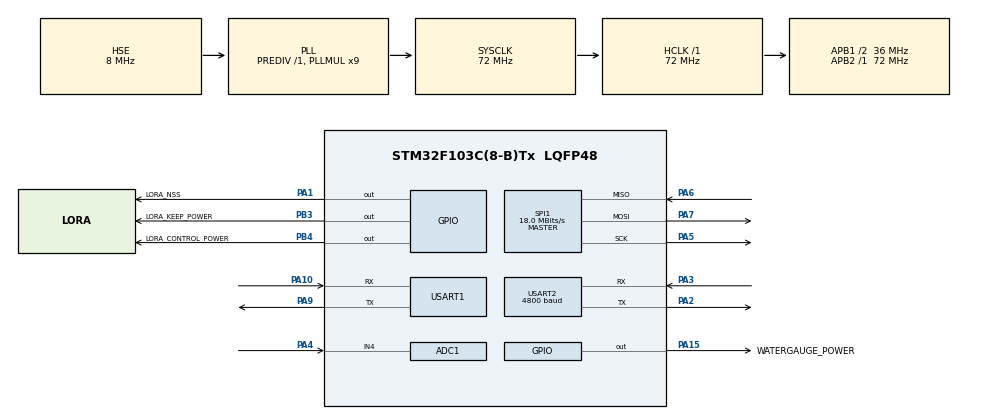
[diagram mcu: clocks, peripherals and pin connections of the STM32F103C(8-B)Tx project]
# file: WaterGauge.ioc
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ADC1.Channel-0\#ChannelRegularConversion=ADC_CHANNEL_4
ADC1.NbrOfConversionFlag=1
ADC1.Rank-0\#ChannelRegularConversion=1
ADC1.SamplingTime-0\#ChannelRegularConversion=ADC_SAMPLETIME_239CYCLES_5
ADC1.master=1
Dma.Request0=USART1_RX
Dma.Request1=USART1_TX
Dma.Request2=USART2_RX
Dma.Request3=USART2_TX
Dma.Request4=SPI1_RX
Dma.Request5=SPI1_TX
Dma.SPI1_RX.4.Direction=DMA_PERIPH_TO_MEMORY
Dma.SPI1_RX.4.Instance=DMA1_Channel2
Dma.SPI1_RX.4.MemDataAlignment=DMA_MDATAALIGN_BYTE
Dma.SPI1_RX.4.MemInc=DMA_MINC_ENABLE
Dma.SPI1_RX.4.Mode=DMA_NORMAL
Dma.SPI1_RX.4.PeriphDataAlignment=DMA_PDATAALIGN_BYTE
Dma.SPI1_RX.4.PeriphInc=DMA_PINC_DISABLE
Dma.SPI1_RX.4.Priority=DMA_PRIORITY_LOW
Dma.SPI1_TX.5.Direction=DMA_MEMORY_TO_PERIPH
Dma.SPI1_TX.5.Instance=DMA1_Channel3
Dma.SPI1_TX.5.MemDataAlignment=DMA_MDATAALIGN_BYTE
Dma.SPI1_TX.5.MemInc=DMA_MINC_ENABLE
Dma.SPI1_TX.5.Mode=DMA_NORMAL
Dma.SPI1_TX.5.PeriphDataAlignment=DMA_PDATAALIGN_BYTE
Dma.SPI1_TX.5.PeriphInc=DMA_PINC_DISABLE
Dma.SPI1_TX.5.Priority=DMA_PRIORITY_LOW
Dma.USART1_RX.0.Direction=DMA_PERIPH_TO_MEMORY
Dma.USART1_RX.0.Instance=DMA1_Channel5
Dma.USART1_RX.0.MemDataAlignment=DMA_MDATAALIGN_BYTE
Dma.USART1_RX.0.MemInc=DMA_MINC_ENABLE
Dma.USART1_RX.0.Mode=DMA_CIRCULAR
Dma.USART1_RX.0.PeriphDataAlignment=DMA_PDATAALIGN_BYTE
Dma.USART1_RX.0.PeriphInc=DMA_PINC_DISABLE
Dma.USART1_RX.0.Priority=DMA_PRIORITY_LOW
Dma.USART1_TX.1.Direction=DMA_MEMORY_TO_PERIPH
Dma.USART1_TX.1.Instance=DMA1_Channel4
Dma.USART1_TX.1.MemDataAlignment=DMA_MDATAALIGN_BYTE
Dma.USART1_TX.1.MemInc=DMA_MINC_ENABLE
Dma.USART1_TX.1.Mode=DMA_NORMAL
Dma.USART1_TX.1.PeriphDataAlignment=DMA_PDATAALIGN_BYTE
Dma.USART1_TX.1.PeriphInc=DMA_PINC_DISABLE
Dma.USART1_TX.1.Priority=DMA_PRIORITY_LOW
Dma.USART2_RX.2.Direction=DMA_PERIPH_TO_MEMORY
Dma.USART2_RX.2.Instance=DMA1_Channel6
Dma.USART2_RX.2.MemDataAlignment=DMA_MDATAALIGN_BYTE
Dma.USART2_RX.2.MemInc=DMA_MINC_ENABLE
Dma.USART2_RX.2.Mode=DMA_CIRCULAR
Dma.USART2_RX.2.PeriphDataAlignment=DMA_PDATAALIGN_BYTE
Dma.USART2_RX.2.PeriphInc=DMA_PINC_DISABLE
Dma.USART2_RX.2.Priority=DMA_PRIORITY_LOW
Dma.USART2_TX.3.Direction=DMA_MEMORY_TO_PERIPH
Dma.USART2_TX.3.Instance=DMA1_Channel7
Dma.USART2_TX.3.MemDataAlignment=DMA_MDATAALIGN_BYTE
Dma.USART2_TX.3.MemInc=DMA_MINC_ENABLE
Dma.USART2_TX.3.Mode=DMA_NORMAL
Dma.USART2_TX.3.PeriphDataAlignment=DMA_PDATAALIGN_BYTE
Dma.USART2_TX.3.PeriphInc=DMA_PINC_DISABLE
Dma.USART2_TX.3.Priority=DMA_PRIORITY_LOW
Mcu.Family=STM32F1
Mcu.Name=STM32F103C(8-B)Tx
Mcu.Package=LQFP48
NVIC.ADC1_2_IRQn=true\:0\:0\:false\:false\:true\:true\:true\:true
NVIC.DMA1_Channel2_IRQn=true\:0\:0\:false\:false\:true\:false\:true\:true
NVIC.DMA1_Channel3_IRQn=true\:0\:0\:false\:false\:true\:false\:true\:true
NVIC.DMA1_Channel4_IRQn=true\:0\:0\:false\:false\:true\:false\:true\:true
NVIC.DMA1_Channel5_IRQn=true\:0\:0\:false\:false\:true\:false\:true\:true
NVIC.DMA1_Channel6_IRQn=true\:0\:0\:false\:false\:true\:false\:true\:true
NVIC.DMA1_Channel7_IRQn=true\:0\:0\:false\:false\:true\:false\:true\:true
NVIC.PriorityGroup=NVIC_PRIORITYGROUP_4
NVIC.RTC_Alarm_IRQn=true\:0\:0\:false\:false\:true\:true\:true\:true
NVIC.RTC_IRQn=true\:0\:0\:false\:false\:true\:true\:true\:true
NVIC.SPI1_IRQn=true\:0\:0\:false\:false\:true\:true\:true\:true
NVIC.USART1_IRQn=true\:0\:0\:false\:false\:true\:true\:true\:true
NVIC.USART2_IRQn=true\:0\:0\:false\:false\:true\:true\:true\:true
PA0-WKUP.Mode=SYS_WakeUp0
PA0-WKUP.Signal=SYS_WKUP
PA1.GPIO_Label=LORA_NSS
PA1.GPIO_PuPd=GPIO_PULLDOWN
PA1.GPIO_Speed=GPIO_SPEED_FREQ_HIGH
PA1.Signal=GPIO_Output
PA10.Mode=Asynchronous
PA10.Signal=USART1_RX
PA13.Mode=Serial_Wire
PA13.Signal=SYS_JTMS-SWDIO
PA14.Mode=Serial_Wire
PA14.Signal=SYS_JTCK-SWCLK
PA15.GPIO_Label=WATERGAUGE_POWER
PA15.GPIO_PuPd=GPIO_PULLDOWN
PA15.GPIO_Speed=GPIO_SPEED_FREQ_HIGH
PA15.Signal=GPIO_Output
PA2.Mode=Asynchronous
PA2.Signal=USART2_TX
PA3.Mode=Asynchronous
PA3.Signal=USART2_RX
PA4.Signal=ADCx_IN4
PA5.Mode=Full_Duplex_Master
PA5.Signal=SPI1_SCK
PA6.Mode=Full_Duplex_Master
PA6.Signal=SPI1_MISO
PA7.Mode=Full_Duplex_Master
PA7.Signal=SPI1_MOSI
PA9.Mode=Asynchronous
PA9.Signal=USART1_TX
PB3.GPIO_Label=LORA_KEEP_POWER
PB3.GPIO_PuPd=GPIO_PULLDOWN
PB3.GPIO_Speed=GPIO_SPEED_FREQ_HIGH
PB3.Signal=GPIO_Output
PB4.GPIO_Label=LORA_CONTROL_POWER
PB4.GPIO_PuPd=GPIO_PULLDOWN
PB4.GPIO_Speed=GPIO_SPEED_FREQ_HIGH
PB4.Signal=GPIO_Output
PC14-OSC32_IN.Mode=LSE-External-Oscillator
PC14-OSC32_IN.Signal=RCC_OSC32_IN
PC15-OSC32_OUT.Mode=LSE-External-Oscillator
PC15-OSC32_OUT.Signal=RCC_OSC32_OUT
PD0-OSC_IN.Mode=HSE-External-Oscillator
PD0-OSC_IN.Signal=RCC_OSC_IN
PD1-OSC_OUT.Mode=HSE-External-Oscillator
PD1-OSC_OUT.Signal=RCC_OSC_OUT
ProjectManager.HeapSize=0x200
ProjectManager.StackSize=0x400
ProjectManager.TargetToolchain=STM32CubeIDE
RCC.ADCPresc=RCC_ADCPCLK2_DIV6
RCC.AHBFreq_Value=72000000
RCC.APB1CLKDivider=RCC_HCLK_DIV2
RCC.APB1Freq_Value=36000000
RCC.APB1TimFreq_Value=72000000
RCC.APB2Freq_Value=72000000
RCC.APB2TimFreq_Value=72000000
RCC.HCLKFreq_Value=72000000
RCC.PLLMUL=RCC_PLL_MUL9
RCC.PLLSourceVirtual=RCC_PLLSOURCE_HSE
RCC.RTCClockSelection=RCC_RTCCLKSOURCE_LSE
RCC.SYSCLKFreq_VALUE=72000000
RCC.SYSCLKSource=RCC_SYSCLKSOURCE_PLLCLK
RCC.USBFreq_Value=72000000
RTC.Format=RTC_FORMAT_BIN
SH.ADCx_IN4.0=ADC1_IN4,IN4
SPI1.BaudRatePrescaler=SPI_BAUDRATEPRESCALER_4
SPI1.CalculateBaudRate=18.0 MBits/s
SPI1.Direction=SPI_DIRECTION_2LINES
SPI1.Mode=SPI_MODE_MASTER
SPI1.VirtualType=VM_MASTER
USART1.VirtualMode=VM_ASYNC
USART2.BaudRate=4800
USART2.VirtualMode=VM_ASYNC
VP_RTC_VS_RTC_Activate.Mode=RTC_Enabled
board=custom

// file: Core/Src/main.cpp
/* USER CODE BEGIN Header */
/**
 ******************************************************************************
 * @file           : main.c
 * @brief          : Main program body
 ******************************************************************************
 * @attention
 *
 * Copyright (c) 2023 STMicroelectronics.
 * All rights reserved.
 *
 * This software is licensed under terms that can be found in the LICENSE file
 * in the root directory of this software component.
 * If no LICENSE file comes with this software, it is provided AS-IS.
 *
 ******************************************************************************
 */
/* USER CODE END Header */
#include "main.h"

/* USER CODE BEGIN Includes */

#include "rfm95w.h"
#include "waterGaugeRS485.h"
#include "terminal.h"

#include "string.h"

/* USER CODE END Includes */

ADC_HandleTypeDef hadc1;

RTC_HandleTypeDef hrtc;

SPI_HandleTypeDef hspi1;
DMA_HandleTypeDef hdma_spi1_rx;
DMA_HandleTypeDef hdma_spi1_tx;

UART_HandleTypeDef huart1;
UART_HandleTypeDef huart2;
DMA_HandleTypeDef hdma_usart1_rx;
DMA_HandleTypeDef hdma_usart1_tx;
DMA_HandleTypeDef hdma_usart2_rx;
DMA_HandleTypeDef hdma_usart2_tx;

/* USER CODE BEGIN PV */

Terminal Terminal(&huart1);

WaterGauge WaterGauge(&huart2, &hrtc, WATERGAUGE_POWER_GPIO_Port, WATERGAUGE_POWER_Pin);

LoRaClass LoRa(&hspi1,
		&hrtc,
		LORA_NSS_GPIO_Port,
		LORA_NSS_Pin,
		LORA_CONTROL_POWER_GPIO_Port,
		LORA_CONTROL_POWER_Pin,
		LORA_KEEP_POWER_GPIO_Port,
		LORA_KEEP_POWER_Pin
);

/* Flag */
uint8_t flagAlarmWakup;

uint8_t huart2_flag_idle = RESET;

/* USER CODE END PV */

void SystemClock_Config(void);
static void MX_GPIO_Init(void);
static void MX_DMA_Init(void);
static void MX_RTC_Init(void);
static void MX_SPI1_Init(void);
static void MX_USART1_UART_Init(void);
static void MX_USART2_UART_Init(void);
static void MX_ADC1_Init(void);

int main(void)
{

	/* MCU Configuration--------------------------------------------------------*/

	/* Reset of all peripherals, Initializes the Flash interface and the Systick. */
	HAL_Init();

	/* Configure the system clock */
	SystemClock_Config();

	/* Initialize all configured peripherals */
	MX_GPIO_Init();
	MX_DMA_Init();
	MX_RTC_Init();
	MX_SPI1_Init();
	MX_USART1_UART_Init();
	MX_USART2_UART_Init();
	MX_ADC1_Init();
	/* USER CODE BEGIN 2 */

	//	/*  Waking up from Standby mode	 */
	//	if (__HAL_PWR_GET_FLAG(PWR_FLAG_SB) != RESET)
	//	{
	//		__HAL_PWR_CLEAR_FLAG(PWR_FLAG_SB);  // clear the flag
	//
	//		/** Disable the WWAKEUP PIN **/
	//		HAL_PWR_DisableWakeUpPin(PWR_WAKEUP_PIN1);  // disable PA0
	//
	//		/** Deactivate the RTC Alrm wakeup  **/
	//			HAL_RTC_DeactivateAlarm(&hrtc, RTC_ALARM_A);
	//		__HAL_RTC_ALARM_EXTI_DISABLE_FALLING_EDGE();
	//	}
	//

	if (HAL_GPIO_ReadPin(GPIOA, GPIO_PIN_0) == GPIO_PIN_SET) {
		// The user pressed the WKUP PIN

		/** Disable the WWAKEUP PIN **/
		HAL_PWR_DisableWakeUpPin(PWR_WAKEUP_PIN1);  // disable PA0

		LoRa.clearFlags();

		/* Set Off Power LoRa	 */
		HAL_GPIO_WritePin(LORA_CONTROL_POWER_GPIO_Port, LORA_CONTROL_POWER_Pin, GPIO_PIN_SET);
		HAL_Delay(100U);
		HAL_GPIO_WritePin(LORA_CONTROL_POWER_GPIO_Port, LORA_CONTROL_POWER_Pin, GPIO_PIN_RESET);

		/* Clear the WU FLAG */
		__HAL_PWR_CLEAR_FLAG(PWR_FLAG_WU);	// A wakeup event was received from the WKUP pin or from the RTC alarm

		/* Finally enter the standby mode */
		HAL_PWR_EnterSTANDBYMode();
	}
	else {
		WaterGauge.setStage(BEGIN_WARERGAGUE);
	}

	/* Differencing the system Reset and the Wake up pin Reset	 */
	if (__HAL_PWR_GET_FLAG(PWR_FLAG_WU) != RESET) {
		//		Terminor.setListData("Wake Up by WKUP PIN 2\n");
		//		// The user pressed the WKUP PIN
		//		uint8_t aa[10] = "helllo";
		//		HAL_UART_Transmit(&huart1, aa, 10, 1000U);
		//		if (flagAlarmWakup != HAL_OK) {
		//
		//
		//			/* Set Off Power LoRa	 */
		//			HAL_GPIO_WritePin(LORA_CONTROL_POWER_GPIO_Port, LORA_CONTROL_POWER_Pin, GPIO_PIN_SET);
		//			HAL_Delay(1U);
		//			HAL_GPIO_WritePin(LORA_CONTROL_POWER_GPIO_Port, LORA_CONTROL_POWER_Pin, GPIO_PIN_RESET);
		//

		//			/* Finally enter the standby mode */
		//			HAL_PWR_EnterSTANDBYMode();
		//		}

	} else {
		// The user pressed the RESET PIN
		RTC_TimeTypeDef sTime = {0};
		RTC_DateTypeDef DateToUpdate = {0};

		sTime.Hours = 0;
		sTime.Minutes = 0;
		sTime.Seconds = 0;

		HAL_RTC_SetTime(&hrtc, &sTime, RTC_FORMAT_BIN);

		DateToUpdate.WeekDay = RTC_WEEKDAY_MONDAY;
		DateToUpdate.Month = RTC_MONTH_JANUARY;
		DateToUpdate.Date = 1;
		DateToUpdate.Year = 0;

		HAL_RTC_SetDate(&hrtc, &DateToUpdate, RTC_FORMAT_BIN);

	}

	/* USER CODE END 2 */

	/* Infinite loop */
	while (1)
	{

		/* USER CODE BEGIN 3 */

		WaterGauge.run_DMA();
		LoRa.run(923E6, BW_125_KHZ, SPREADING_FACTOR_12);
		Terminal.run();

		/* Send Data Done over 107ms		 */
		/* If Init TX Done LoRA goto Standby VDK		 */
		if (LoRa.getStage() == MAX_STAGE_RFM95W) {
			WaterGauge.setStage(MAX_STAGE_WATERGAUGE);
		}

		/* If read value WaterGauge != old_value then send data with LoRa		 */
		switch (WaterGauge.getStage()) {
		case 0x02: {
			HAL_ADC_Start(&hadc1);
			HAL_ADC_PollForConversion(&hadc1, 1000U);
			uint16_t vol = HAL_ADC_GetValue(&hadc1);
			LoRa.setVolData(vol);
			HAL_ADC_Stop(&hadc1);
			break;
		}

		case READ_OK_STAGE_WATERGAUGE: {
			if (LoRa.getStage() == 0) {
				LoRa.setData(WaterGauge.getValueWater());
				LoRa.setStage(TRANSMIT_STAGE_RFM95W);
			}
			break;
		}

		case MAX_STAGE_WATERGAUGE: {

			if (Terminal.emptyListData() != HAL_OK) break;

			/** Now enter the standby mode **/
			/* Clear the WU FLAG */
			__HAL_PWR_CLEAR_FLAG(PWR_FLAG_WU);	// A wakeup event was received from the WKUP pin or from the RTC alarm

			/* Enable the WAKEUP PIN */
			HAL_PWR_EnableWakeUpPin(PWR_WAKEUP_PIN1);

			/* Finally enter the standby mode */
			HAL_PWR_EnterSTANDBYMode();

			break;
		}
		}

		//	  while(rxBuffer_deque.size() > 0) {
		//	 			  std::vector<uint8_t> data = rxBuffer_deque.at(0);
		//	 			  uint8_t arr[data.size()];
		//	 			  std::copy(data.begin(), data.end(), arr);
		//	 			  if (HAL_UART_Transmit(&huart1, data.data(), data.size(), HAL_MAX_DELAY) != HAL_OK) break;
		//	 			  rxBuffer_deque.pop_front();
		//	 		  }

	}
	/* USER CODE END 3 */
}

void SystemClock_Config(void)
{
	RCC_OscInitTypeDef RCC_OscInitStruct = {0};
	RCC_ClkInitTypeDef RCC_ClkInitStruct = {0};
	RCC_PeriphCLKInitTypeDef PeriphClkInit = {0};

	/** Initializes the RCC Oscillators according to the specified parameters
	 * in the RCC_OscInitTypeDef structure.
	 */
	RCC_OscInitStruct.OscillatorType = RCC_OSCILLATORTYPE_HSE|RCC_OSCILLATORTYPE_LSE;
	RCC_OscInitStruct.HSEState = RCC_HSE_ON;
	RCC_OscInitStruct.HSEPredivValue = RCC_HSE_PREDIV_DIV1;
	RCC_OscInitStruct.LSEState = RCC_LSE_ON;
	RCC_OscInitStruct.HSIState = RCC_HSI_ON;
	RCC_OscInitStruct.PLL.PLLState = RCC_PLL_ON;
	RCC_OscInitStruct.PLL.PLLSource = RCC_PLLSOURCE_HSE;
	RCC_OscInitStruct.PLL.PLLMUL = RCC_PLL_MUL9;
	if (HAL_RCC_OscConfig(&RCC_OscInitStruct) != HAL_OK)
	{
		Error_Handler();
	}

	/** Initializes the CPU, AHB and APB buses clocks
	 */
	RCC_ClkInitStruct.ClockType = RCC_CLOCKTYPE_HCLK|RCC_CLOCKTYPE_SYSCLK
			|RCC_CLOCKTYPE_PCLK1|RCC_CLOCKTYPE_PCLK2;
	RCC_ClkInitStruct.SYSCLKSource = RCC_SYSCLKSOURCE_PLLCLK;
	RCC_ClkInitStruct.AHBCLKDivider = RCC_SYSCLK_DIV1;
	RCC_ClkInitStruct.APB1CLKDivider = RCC_HCLK_DIV2;
	RCC_ClkInitStruct.APB2CLKDivider = RCC_HCLK_DIV1;

	if (HAL_RCC_ClockConfig(&RCC_ClkInitStruct, FLASH_LATENCY_2) != HAL_OK)
	{
		Error_Handler();
	}
	PeriphClkInit.PeriphClockSelection = RCC_PERIPHCLK_RTC|RCC_PERIPHCLK_ADC;
	PeriphClkInit.RTCClockSelection = RCC_RTCCLKSOURCE_LSE;
	PeriphClkInit.AdcClockSelection = RCC_ADCPCLK2_DIV6;
	if (HAL_RCCEx_PeriphCLKConfig(&PeriphClkInit) != HAL_OK)
	{
		Error_Handler();
	}
}

static void MX_ADC1_Init(void)
{

	ADC_ChannelConfTypeDef sConfig = {0};

	/** Common config
	 */
	hadc1.Instance = ADC1;
	hadc1.Init.ScanConvMode = ADC_SCAN_DISABLE;
	hadc1.Init.ContinuousConvMode = DISABLE;
	hadc1.Init.DiscontinuousConvMode = DISABLE;
	hadc1.Init.ExternalTrigConv = ADC_SOFTWARE_START;
	hadc1.Init.DataAlign = ADC_DATAALIGN_RIGHT;
	hadc1.Init.NbrOfConversion = 1;
	if (HAL_ADC_Init(&hadc1) != HAL_OK)
	{
		Error_Handler();
	}

	/** Configure Regular Channel
	 */
	sConfig.Channel = ADC_CHANNEL_4;
	sConfig.Rank = ADC_REGULAR_RANK_1;
	sConfig.SamplingTime = ADC_SAMPLETIME_239CYCLES_5;
	if (HAL_ADC_ConfigChannel(&hadc1, &sConfig) != HAL_OK)
	{
		Error_Handler();
	}

}

static void MX_RTC_Init(void)
{

	/** Initialize RTC Only
	 */
	hrtc.Instance = RTC;
	hrtc.Init.AsynchPrediv = RTC_AUTO_1_SECOND;
	hrtc.Init.OutPut = RTC_OUTPUTSOURCE_ALARM;
	if (HAL_RTC_Init(&hrtc) != HAL_OK)
	{
		Error_Handler();
	}

}

static void MX_SPI1_Init(void)
{

	/* SPI1 parameter configuration*/
	hspi1.Instance = SPI1;
	hspi1.Init.Mode = SPI_MODE_MASTER;
	hspi1.Init.Direction = SPI_DIRECTION_2LINES;
	hspi1.Init.DataSize = SPI_DATASIZE_8BIT;
	hspi1.Init.CLKPolarity = SPI_POLARITY_LOW;
	hspi1.Init.CLKPhase = SPI_PHASE_1EDGE;
	hspi1.Init.NSS = SPI_NSS_SOFT;
	hspi1.Init.BaudRatePrescaler = SPI_BAUDRATEPRESCALER_4;
	hspi1.Init.FirstBit = SPI_FIRSTBIT_MSB;
	hspi1.Init.TIMode = SPI_TIMODE_DISABLE;
	hspi1.Init.CRCCalculation = SPI_CRCCALCULATION_DISABLE;
	hspi1.Init.CRCPolynomial = 10;
	if (HAL_SPI_Init(&hspi1) != HAL_OK)
	{
		Error_Handler();
	}

}

static void MX_USART1_UART_Init(void)
{

	huart1.Instance = USART1;
	huart1.Init.BaudRate = 115200;
	huart1.Init.WordLength = UART_WORDLENGTH_8B;
	huart1.Init.StopBits = UART_STOPBITS_1;
	huart1.Init.Parity = UART_PARITY_NONE;
	huart1.Init.Mode = UART_MODE_TX_RX;
	huart1.Init.HwFlowCtl = UART_HWCONTROL_NONE;
	huart1.Init.OverSampling = UART_OVERSAMPLING_16;
	if (HAL_UART_Init(&huart1) != HAL_OK)
	{
		Error_Handler();
	}

}

static void MX_USART2_UART_Init(void)
{

	huart2.Instance = USART2;
	huart2.Init.BaudRate = 4800;
	huart2.Init.WordLength = UART_WORDLENGTH_8B;
	huart2.Init.StopBits = UART_STOPBITS_1;
	huart2.Init.Parity = UART_PARITY_NONE;
	huart2.Init.Mode = UART_MODE_TX_RX;
	huart2.Init.HwFlowCtl = UART_HWCONTROL_NONE;
	huart2.Init.OverSampling = UART_OVERSAMPLING_16;
	if (HAL_UART_Init(&huart2) != HAL_OK)
	{
		Error_Handler();
	}

}

static void MX_DMA_Init(void)
{

	/* DMA controller clock enable */
	__HAL_RCC_DMA1_CLK_ENABLE();

	/* DMA interrupt init */
	/* DMA1_Channel2_IRQn interrupt configuration */
	HAL_NVIC_SetPriority(DMA1_Channel2_IRQn, 0, 0);
	HAL_NVIC_EnableIRQ(DMA1_Channel2_IRQn);
	/* DMA1_Channel3_IRQn interrupt configuration */
	HAL_NVIC_SetPriority(DMA1_Channel3_IRQn, 0, 0);
	HAL_NVIC_EnableIRQ(DMA1_Channel3_IRQn);
	/* DMA1_Channel4_IRQn interrupt configuration */
	HAL_NVIC_SetPriority(DMA1_Channel4_IRQn, 0, 0);
	HAL_NVIC_EnableIRQ(DMA1_Channel4_IRQn);
	/* DMA1_Channel5_IRQn interrupt configuration */
	HAL_NVIC_SetPriority(DMA1_Channel5_IRQn, 0, 0);
	HAL_NVIC_EnableIRQ(DMA1_Channel5_IRQn);
	/* DMA1_Channel6_IRQn interrupt configuration */
	HAL_NVIC_SetPriority(DMA1_Channel6_IRQn, 0, 0);
	HAL_NVIC_EnableIRQ(DMA1_Channel6_IRQn);
	/* DMA1_Channel7_IRQn interrupt configuration */
	HAL_NVIC_SetPriority(DMA1_Channel7_IRQn, 0, 0);
	HAL_NVIC_EnableIRQ(DMA1_Channel7_IRQn);

}

static void MX_GPIO_Init(void)
{
	GPIO_InitTypeDef GPIO_InitStruct = {0};

	/* GPIO Ports Clock Enable */
	__HAL_RCC_GPIOC_CLK_ENABLE();
	__HAL_RCC_GPIOD_CLK_ENABLE();
	__HAL_RCC_GPIOA_CLK_ENABLE();
	__HAL_RCC_GPIOB_CLK_ENABLE();

	/*Configure GPIO pin Output Level */
	HAL_GPIO_WritePin(GPIOA, LORA_NSS_Pin|WATERGAUGE_POWER_Pin, GPIO_PIN_RESET);

	/*Configure GPIO pin Output Level */
	HAL_GPIO_WritePin(GPIOB, LORA_KEEP_POWER_Pin|LORA_CONTROL_POWER_Pin, GPIO_PIN_RESET);

	/*Configure GPIO pins : LORA_NSS_Pin WATERGAUGE_POWER_Pin */
	GPIO_InitStruct.Pin = LORA_NSS_Pin|WATERGAUGE_POWER_Pin;
	GPIO_InitStruct.Mode = GPIO_MODE_OUTPUT_PP;
	GPIO_InitStruct.Pull = GPIO_PULLDOWN;
	GPIO_InitStruct.Speed = GPIO_SPEED_FREQ_HIGH;
	HAL_GPIO_Init(GPIOA, &GPIO_InitStruct);

	/*Configure GPIO pins : LORA_KEEP_POWER_Pin LORA_CONTROL_POWER_Pin */
	GPIO_InitStruct.Pin = LORA_KEEP_POWER_Pin|LORA_CONTROL_POWER_Pin;
	GPIO_InitStruct.Mode = GPIO_MODE_OUTPUT_PP;
	GPIO_InitStruct.Pull = GPIO_PULLDOWN;
	GPIO_InitStruct.Speed = GPIO_SPEED_FREQ_HIGH;
	HAL_GPIO_Init(GPIOB, &GPIO_InitStruct);

}

/* USER CODE BEGIN 4 */

//void HAL_SPI_TxCpltCallback(SPI_HandleTypeDef *hspi) {
//	LoRa.txRxCpltCallback();
//}
//
//void HAL_SPI_TxRxCpltCallback(SPI_HandleTypeDef *hspi) {
//	LoRa.txRxCpltCallback();
//}
//
void HAL_UARTEx_RxEventCallback(UART_HandleTypeDef *huart, uint16_t Size) {
	WaterGauge.rxCpltCallback(huart, Size, &huart2_flag_idle);
}

void HAL_UART_TxCpltCallback(UART_HandleTypeDef *huart) {
	Terminal.TxCpltCallback(huart);
}

//void HAL_RTC_AlarmAEventCallback(RTC_HandleTypeDef *hrtc) {
//	WaterGauge.setStage(BEGIN_WARERGAGUE);
//	LoRa.setStage(0x00);
//}

/* USER CODE END 4 */

void Error_Handler(void)
{
	__disable_irq();
	while (1)
	{
	}
}
